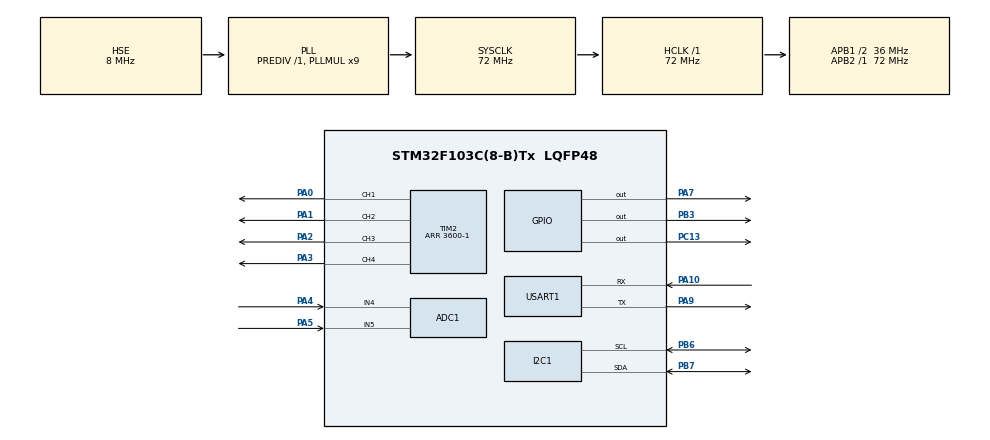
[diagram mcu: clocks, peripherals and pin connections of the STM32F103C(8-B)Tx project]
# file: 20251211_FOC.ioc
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ADC1.Channel-20\#ChannelRegularConversion=ADC_CHANNEL_4
ADC1.Channel-21\#ChannelRegularConversion=ADC_CHANNEL_5
ADC1.ContinuousConvMode=DISABLE
ADC1.ExternalTrigConv=ADC_EXTERNALTRIGCONV_T2_CC2
ADC1.NbrOfConversion=2
ADC1.NbrOfConversionFlag=1
ADC1.Rank-20\#ChannelRegularConversion=1
ADC1.Rank-21\#ChannelRegularConversion=2
ADC1.SamplingTime-20\#ChannelRegularConversion=ADC_SAMPLETIME_7CYCLES_5
ADC1.SamplingTime-21\#ChannelRegularConversion=ADC_SAMPLETIME_7CYCLES_5
ADC1.master=1
Dma.ADC1.1.Direction=DMA_PERIPH_TO_MEMORY
Dma.ADC1.1.Instance=DMA1_Channel1
Dma.ADC1.1.MemDataAlignment=DMA_MDATAALIGN_HALFWORD
Dma.ADC1.1.MemInc=DMA_MINC_ENABLE
Dma.ADC1.1.Mode=DMA_CIRCULAR
Dma.ADC1.1.PeriphDataAlignment=DMA_PDATAALIGN_HALFWORD
Dma.ADC1.1.PeriphInc=DMA_PINC_DISABLE
Dma.ADC1.1.Priority=DMA_PRIORITY_VERY_HIGH
Dma.I2C1_RX.0.Direction=DMA_PERIPH_TO_MEMORY
Dma.I2C1_RX.0.Instance=DMA1_Channel7
Dma.I2C1_RX.0.MemDataAlignment=DMA_MDATAALIGN_BYTE
Dma.I2C1_RX.0.MemInc=DMA_MINC_ENABLE
Dma.I2C1_RX.0.Mode=DMA_NORMAL
Dma.I2C1_RX.0.PeriphDataAlignment=DMA_PDATAALIGN_BYTE
Dma.I2C1_RX.0.PeriphInc=DMA_PINC_DISABLE
Dma.I2C1_RX.0.Priority=DMA_PRIORITY_MEDIUM
Dma.Request0=I2C1_RX
Dma.Request1=ADC1
I2C1.I2C_Mode=I2C_Fast
I2C1.NoStretchMode=I2C_NOSTRETCH_DISABLE
Mcu.Family=STM32F1
Mcu.Name=STM32F103C(8-B)Tx
Mcu.Package=LQFP48
NVIC.DMA1_Channel1_IRQn=true\:0\:0\:true\:false\:true\:false\:true\:true
NVIC.DMA1_Channel7_IRQn=true\:5\:0\:true\:false\:true\:false\:true\:true
NVIC.I2C1_ER_IRQn=true\:3\:0\:true\:false\:true\:true\:true\:true
NVIC.I2C1_EV_IRQn=true\:3\:0\:true\:false\:true\:true\:true\:true
NVIC.PriorityGroup=NVIC_PRIORITYGROUP_4
NVIC.TIM3_IRQn=true\:5\:0\:true\:false\:true\:true\:true\:true
PA0-WKUP.Signal=S_TIM2_CH1_ETR
PA1.Signal=S_TIM2_CH2
PA10.Mode=Asynchronous
PA10.Signal=USART1_RX
PA13.Mode=Serial_Wire
PA13.Signal=SYS_JTMS-SWDIO
PA14.Mode=Serial_Wire
PA14.Signal=SYS_JTCK-SWCLK
PA2.Signal=S_TIM2_CH3
PA3.Signal=S_TIM2_CH4
PA4.Signal=ADCx_IN4
PA5.Signal=ADCx_IN5
PA7.Signal=GPIO_Output
PA9.Mode=Asynchronous
PA9.Signal=USART1_TX
PB3.Signal=GPIO_Output
PB6.Mode=I2C
PB6.Signal=I2C1_SCL
PB7.Mode=I2C
PB7.Signal=I2C1_SDA
PC13-TAMPER-RTC.Signal=GPIO_Output
PD0-OSC_IN.Mode=HSE-External-Oscillator
PD0-OSC_IN.Signal=RCC_OSC_IN
PD1-OSC_OUT.Mode=HSE-External-Oscillator
PD1-OSC_OUT.Signal=RCC_OSC_OUT
ProjectManager.HeapSize=0x200
ProjectManager.StackSize=0x400
ProjectManager.TargetToolchain=MDK-ARM V5.32
RCC.ADCPresc=RCC_ADCPCLK2_DIV6
RCC.AHBFreq_Value=72000000
RCC.APB1CLKDivider=RCC_HCLK_DIV2
RCC.APB1Freq_Value=36000000
RCC.APB1TimFreq_Value=72000000
RCC.APB2Freq_Value=72000000
RCC.APB2TimFreq_Value=72000000
RCC.HCLKFreq_Value=72000000
RCC.PLLMUL=RCC_PLL_MUL9
RCC.PLLSourceVirtual=RCC_PLLSOURCE_HSE
RCC.SYSCLKFreq_VALUE=72000000
RCC.SYSCLKSource=RCC_SYSCLKSOURCE_PLLCLK
RCC.USBFreq_Value=72000000
SH.ADCx_IN4.0=ADC1_IN4,IN4
SH.ADCx_IN5.0=ADC1_IN5,IN5
SH.S_TIM2_CH1_ETR.0=TIM2_CH1,PWM Generation1 CH1
SH.S_TIM2_CH2.0=TIM2_CH2,PWM Generation2 CH2
SH.S_TIM2_CH3.0=TIM2_CH3,PWM Generation3 CH3
SH.S_TIM2_CH4.0=TIM2_CH4,PWM Generation4 CH4
TIM2.Channel-PWM\ Generation1\ CH1=TIM_CHANNEL_1
TIM2.Channel-PWM\ Generation2\ CH2=TIM_CHANNEL_2
TIM2.Channel-PWM\ Generation3\ CH3=TIM_CHANNEL_3
TIM2.Channel-PWM\ Generation4\ CH4=TIM_CHANNEL_4
TIM2.CounterMode=TIM_COUNTERMODE_CENTERALIGNED1
TIM2.OCPolarity_2=TIM_OCPOLARITY_HIGH
TIM2.Period=3600-1
TIM2.TIM_MasterOutputTrigger=TIM_TRGO_OC4REF
TIM2.TIM_MasterSlaveMode=TIM_MASTERSLAVEMODE_ENABLE
TIM3.Period=1000-1
TIM3.Prescaler=72-1
USART1.VirtualMode=VM_ASYNC
VP_TIM2_VS_ClockSourceINT.Mode=Internal
VP_TIM3_VS_ClockSourceINT.Mode=Internal
board=custom

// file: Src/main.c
/* USER CODE BEGIN Header */
/**
  ******************************************************************************
  * @file           : main.c
  * @brief          : Main program body
  ******************************************************************************
  * @attention
  *
  * Copyright (c) 2025 STMicroelectronics.
  * All rights reserved.
  *
  * This software is licensed under terms that can be found in the LICENSE file
  * in the root directory of this software component.
  * If no LICENSE file comes with this software, it is provided AS-IS.
  *
  ******************************************************************************
  */
/* USER CODE END Header */
#include "main.h"
#include "adc.h"
#include "dma.h"
#include "i2c.h"
#include "tim.h"
#include "usart.h"
#include "gpio.h"

/* USER CODE BEGIN Includes */
//#include "AS5600.h"
#include <math.h>

#include <string.h>
#include <stdarg.h>  // 添加这个头文件
#include <stdio.h>   // 如果需要使用vsnprintf

#include "foc.h"
#include "pid.h"
#include "foc_as5600.h"
#include "foc_math.h"
#include "foc_current.h"
#include "foc_config.h"
/* USER CODE END Includes */

/* USER CODE BEGIN PM */
#define PWM_Period  3600
#define AS5600_DIR -1
#define AS5600_OFFSET 791
#define MOTOR_POLE_PAIR 7
/* USER CODE END PM */

/* USER CODE BEGIN PV */

// 电机角度相关变量（单位：弧度×1000）
volatile int32_t zero_shaft_angle_1000;   // 零位机械角度
volatile int32_t shaft_angle_1000;        // 当前机械角度
volatile int32_t shaft_angle_pre_1000;    // 上次机械角度
volatile int32_t shaft_speed_1000;        // 机械转速
volatile int32_t electrical_angle_1000;   // 电角度
volatile int32_t d_shaft_angle_1000;

// 电压控制变量
volatile int32_t voltage_q = 0;  // q轴电压给定
volatile int32_t voltage_d = 0;    // d轴电压给定

// 电流和速度控制变量
volatile int32_t current_tar_q = 0;  // q轴电流给定
volatile int32_t current_tar_d = 0;  // d轴电流给定
volatile int32_t speed_tar = 30000;      // 速度给定，100转/分钟

// 电流采样结构体
Currents currents = {0};

// PID控制器
PID_Controller pid_d;      // d轴电流环PID
PID_Controller pid_q;      // q轴电流环PID
PID_Controller pid_speed;  // 速度环PID

volatile int32_t pid_flag = 1;  // PID控制使能标志：0=开环电压控制，1=闭环PID控制

/* USER CODE END PV */

void SystemClock_Config(void);

/* USER CODE BEGIN 0 */

uint16_t whilecount=0;

// 串口发送字符串
void UART_Print(char* str)
{
    HAL_UART_Transmit(&huart1, (uint8_t*)str, strlen(str), 1000);
}
// 串口发送多个整数
void UART_PrintMultipleInts(int a, int b, int c)
{
    char buffer[50];  // 用于存储转换后的字符串
    // 格式化多个整数，按照指定格式拼接
    sprintf(buffer, "%d,%d,%d\n", a, b, c);
    // 通过串口发送格式化后的字符串
    UART_Print(buffer);
}

//UART UART UART UART UART UART UART UART UART UART UART UART UART UART UART UART UART UART UART UART UART UART
int fputc(int ch, FILE *f)
{
  HAL_UART_Transmit(&huart1, (uint8_t *)&ch, 1, 0xffff);
  return ch;
}

int fgetc(FILE *f)
{
  uint8_t ch = 0;
  HAL_UART_Receive(&huart1, &ch, 1, 0xffff);
  return ch;
}

//☆TIM3中断 ☆TIM3中断 ☆TIM3中断 ☆TIM3中断 ☆TIM3中断 ☆TIM3中断 ☆TIM3中断 ☆TIM3中断 ☆TIM3中断 ☆TIM3中断 ☆TIM3中断

// TIM3中断计数器，用于定时任务
volatile uint32_t tim3_interrupt_count = 0;
/**
  * @brief  TIM3周期中断回调函数 - FOC控制主循环
  * @param  htim: TIM句柄
  * @retval None
  */
void HAL_TIM_PeriodElapsedCallback(TIM_HandleTypeDef *htim)
{
    if (htim->Instance == TIM3)
    {
        tim3_interrupt_count++;

      // 检查AS5600角度数据是否就绪
        if(as5600_data_ready)
        {
            as5600_data_ready = 0;

            // 1. 获取机械角度（通过DMA）
            shaft_angle_1000 = AS5600GetAngle_DMA(as5600_angle);

            // 2. 计算电角度（7对极电机）
//            electrical_angle_1000 = ((-shaft_angle_1000 + _2PI_1000 + zero_shaft_angle_1000) * 7) % _2PI_1000;
//						electrical_angle_1000 = ((shaft_angle_1000 + _2PI_1000 - zero_shaft_angle_1000) * 7) % _2PI_1000;
						electrical_angle_1000 = ((AS5600_DIR*(shaft_angle_1000-zero_shaft_angle_1000) + _2PI_1000  ) * MOTOR_POLE_PAIR) % _2PI_1000;

            // 3. 计算转速（带角度归一化和低通滤波）
            d_shaft_angle_1000 = shaft_angle_1000 - shaft_angle_pre_1000;
						shaft_angle_pre_1000 = shaft_angle_1000;

            // 角度归一化处理
            if(d_shaft_angle_1000 < -1000)
                d_shaft_angle_1000 = _2PI_1000 + d_shaft_angle_1000;
            else if(d_shaft_angle_1000 > 1000)
                d_shaft_angle_1000 = -(_2PI_1000 - d_shaft_angle_1000);

            // 转速计算（一阶低通滤波：0.2旧值 + 0.8新值）
            shaft_speed_1000 = 0.9 * shaft_speed_1000 + 0.1 * AS5600_DIR*(d_shaft_angle_1000 * 1000 * 6000 / _2PI_1000);//单位是0.01rpm(每分钟圈数)
             //shaft_speed_1000 = AS5600_DIR*(d_shaft_angle_1000 * 1000 * 60 / _2PI_1000);//单位是rpm(每分钟圈数)

            // 4. 读取并处理ADC电流采样（去除偏置）
            currents.a = adc_buffer[0] - 1976;  // 通道A电流，1975为偏置值
            currents.b = adc_buffer[1] - 1978;  // 通道B电流
            FOC_CurrentProcessing(&currents, electrical_angle_1000);

            // 5. 根据pid_flag选择控制模式
            if(pid_flag)
            {
                // 闭环PID控制模式
                // 速度环控制
                PID_Calculate(&pid_speed, speed_tar, shaft_speed_1000);

                // 电流环控制
								current_tar_q = pid_speed.out;  // 速度环输出作为q轴电流给定
                PID_Calculate(&pid_d, 0, currents.d);      // d轴电流控制
                PID_Calculate(&pid_q, current_tar_q, currents.q);  // q轴电流控制

                // 输出SVPWM
                FOC_VoltageOutput(pid_d.out, pid_q.out, electrical_angle_1000);
            }
            else
            {
                // 开环电压控制模式
                FOC_VoltageOutput(voltage_d, voltage_q, electrical_angle_1000);
            }
        }
        else
        {
            // AS5600数据未就绪，输出调试信息
            UART_Print("as5600_data_ready is 0\r\n");
            printf("%d,%d,%d\r\n", shaft_angle_1000, electrical_angle_1000, as5600_data_ready);
        }

    }
}

/* USER CODE END 0 */

int main(void)
{
  /* USER CODE BEGIN 1 */
	//我的代码1
	//ADC_ChannelConfTypeDef sConfig;		//通道初始化
  /* USER CODE END 1 */

  /* MCU Configuration--------------------------------------------------------*/

  /* Reset of all peripherals, Initializes the Flash interface and the Systick. */
  HAL_Init();

  /* USER CODE BEGIN Init */
	//我的代码初始化
	//ADC_ChannelConfTypeDef sConfig;		//通道初始化
  /* USER CODE END Init */

  /* Configure the system clock */
  SystemClock_Config();

  /* Initialize all configured peripherals */
  MX_GPIO_Init();
  MX_DMA_Init();
  MX_I2C1_Init();
  MX_ADC1_Init();
  MX_USART1_UART_Init();
  MX_TIM2_Init();
  MX_TIM3_Init();
  /* USER CODE BEGIN 2 */
	//我的代码开始

	HAL_Delay(1000);
	AS5600_Read_Angle();  // 启动第一次读取
	HAL_Delay(100);

	// 启动TIM2的4个PWM通道（用于三相逆变器控制）
	HAL_TIM_PWM_Start(&htim2,TIM_CHANNEL_1);
	HAL_TIM_PWM_Start(&htim2,TIM_CHANNEL_2);
	HAL_TIM_PWM_Start(&htim2,TIM_CHANNEL_3);
	HAL_TIM_PWM_Start(&htim2,TIM_CHANNEL_4);

	// 启动ADC DMA转换
	if (HAL_ADC_Start_DMA(&hadc1, (uint32_t*)adc_buffer, ADC_BUFFER_SIZE * 2) != HAL_OK)
	{
		Error_Handler();
	}
	//用定时器触发ADC采样
	__HAL_TIM_SET_COMPARE(&htim2, TIM_CHANNEL_2, PWM_Period-10);

	//电机参数识别程序
	//foc_config_main();while(1){}

	//要么执行简单的电机零位识别，获取zero_shaft_angle_1000
	HAL_GPIO_WritePin(GPIOA,GPIO_PIN_7,GPIO_PIN_SET);// PA7使能电机驱动芯片
	FOC_VoltageOutput(0,100, _3PI_2_1000);
	HAL_Delay(1000);
	zero_shaft_angle_1000=AS5600GetAngle_DMA(as5600_angle);
	FOC_VoltageOutput(0,0, 0);
	//要么直接给zero_shaft_angle_1000
	//zero_shaft_angle_1000=AS5600_OFFSET;

	printf("Hello, STM32!\r\n");
	//printf("你好, STM32!\r\n");

	// PID控制器初始化
	// 速度环PID参数：Kp=10000, Ki=10, Kd=0, 输出限幅±1000
	PID_Init(&pid_speed, 5000, 20, 0, 500, -500);//高速10~800(300 1)
	// 电流环PID参数：Kp=10000, Ki=5000, Kd=0, 输出限幅±500
	PID_Init(&pid_d, 10000, 500, 0, 500, -500);
	PID_Init(&pid_q, 10000, 500, 0, 500, -500);

	// 启动TIM3定时器中断（FOC控制周期）
    HAL_TIM_Base_Start_IT(&htim3);

  /* USER CODE END 2 */

  /* Infinite loop */
  while (1)
  {

    /* USER CODE BEGIN 3 */

		//whilecount++;
		if(tim3_interrupt_count>1000){
			tim3_interrupt_count=0;
			HAL_GPIO_TogglePin(GPIOC,GPIO_PIN_13);

			//UART_PrintMultipleInts(shaft_angle_1000,electrical_angle_1000, _cos(electrical_angle_1000));
			//UART_PrintMultipleInts(1000*Ta,1000*Tb,1000*Tc);
		}

//
		if(ADC_data_ready){

			//whilecount++;
			ADC_data_ready=0;
			printf("%d,%d,%d,%d,%d,%d,%d\r\n", \
			currents.a,\
			currents.b,\
			current_tar_q, \
			currents.q,\
			currents.d,\
			speed_tar,\
			shaft_speed_1000);

			//ProcessADCData();
		}
  }
  /* USER CODE END 3 */
}

void SystemClock_Config(void)
{
  RCC_OscInitTypeDef RCC_OscInitStruct = {0};
  RCC_ClkInitTypeDef RCC_ClkInitStruct = {0};
  RCC_PeriphCLKInitTypeDef PeriphClkInit = {0};

  /** Initializes the RCC Oscillators according to the specified parameters
  * in the RCC_OscInitTypeDef structure.
  */
  RCC_OscInitStruct.OscillatorType = RCC_OSCILLATORTYPE_HSE;
  RCC_OscInitStruct.HSEState = RCC_HSE_ON;
  RCC_OscInitStruct.HSEPredivValue = RCC_HSE_PREDIV_DIV1;
  RCC_OscInitStruct.HSIState = RCC_HSI_ON;
  RCC_OscInitStruct.PLL.PLLState = RCC_PLL_ON;
  RCC_OscInitStruct.PLL.PLLSource = RCC_PLLSOURCE_HSE;
  RCC_OscInitStruct.PLL.PLLMUL = RCC_PLL_MUL9;
  if (HAL_RCC_OscConfig(&RCC_OscInitStruct) != HAL_OK)
  {
    Error_Handler();
  }

  /** Initializes the CPU, AHB and APB buses clocks
  */
  RCC_ClkInitStruct.ClockType = RCC_CLOCKTYPE_HCLK|RCC_CLOCKTYPE_SYSCLK
                              |RCC_CLOCKTYPE_PCLK1|RCC_CLOCKTYPE_PCLK2;
  RCC_ClkInitStruct.SYSCLKSource = RCC_SYSCLKSOURCE_PLLCLK;
  RCC_ClkInitStruct.AHBCLKDivider = RCC_SYSCLK_DIV1;
  RCC_ClkInitStruct.APB1CLKDivider = RCC_HCLK_DIV2;
  RCC_ClkInitStruct.APB2CLKDivider = RCC_HCLK_DIV1;

  if (HAL_RCC_ClockConfig(&RCC_ClkInitStruct, FLASH_LATENCY_2) != HAL_OK)
  {
    Error_Handler();
  }
  PeriphClkInit.PeriphClockSelection = RCC_PERIPHCLK_ADC;
  PeriphClkInit.AdcClockSelection = RCC_ADCPCLK2_DIV6;
  if (HAL_RCCEx_PeriphCLKConfig(&PeriphClkInit) != HAL_OK)
  {
    Error_Handler();
  }
}

void Error_Handler(void)
{
  __disable_irq();
  while (1)
  {
  }
}
